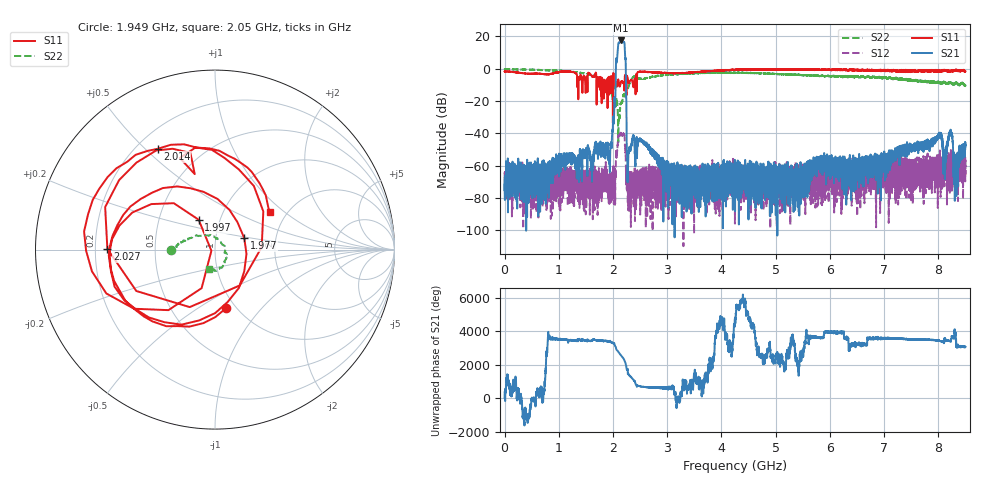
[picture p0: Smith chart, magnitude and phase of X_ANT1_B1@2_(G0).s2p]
#  HZ  S  RI  R  50.00
! Rohde & Schwarz Vector Network Analyzer
! Rohde-Schwarz,ZNBT8-20Port,1318700624101681,3.50
! Created: UTC 7/15/2025, 2:07:48 PM
! freq[Hz]  re:S1010  im:S1010  re:S0510  im:S0510  re:S1005  im:S1005  re:S55  im:S55
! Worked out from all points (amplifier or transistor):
!   8500 points, 1 MHz to 8.5 GHz, reference 50 ohm
!   highest |S21| = 17.5 dB at 2.144 GHz (marker M1)
!   |S21| within 3 dB of that: 2.095 GHz to 2.215 GHz (119.7 MHz wide, 5.56 % of centre)
!   unconditionally stable (mu >= 1): start of sweep to end of sweep
!   at 1.417 GHz: K = 810989.35, MAG = -47.8 dB, |S12| = -81.6 dB
!   at 4.251 GHz: K = 92274.92, MAG = -58.2 dB, |S12| = -59.4 dB
!   at 8.5 GHz: K = 35015.20, MAG = -41.9 dB, |S12| = -60.3 dB
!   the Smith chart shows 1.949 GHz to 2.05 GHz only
!   S11 on the Smith chart (normalised r, x): 1.949 GHz: 0.91, -0.66; 1.977 GHz: 1.38, +0.18; 1.997 GHz: 0.79, +0.27; 2.014 GHz: 0.28, +0.55; 2.027 GHz: 0.25, +0.00; 2.05 GHz: 1.64, +0.79
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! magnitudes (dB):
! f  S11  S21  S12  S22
! 1 MHz  -1.7  -71.5  -67.8  -0.2
! 1.418 GHz  -5.1  -56.6  -76.3  -2.6
! 1.949 GHz  -9.6  -50.9  -78.6  -12.2
! 1.977 GHz  -15.1  -46.7  -69.6  -15.3
! 1.997 GHz  -14.4  -37.8  -66.6  -20.5
! 2.014 GHz  -3.8  -33.5  -76.1  -25.8
! 2.027 GHz  -4.4  -17.6  -69.4  -21.7
! 2.05 GHz  -8.7  -6.8  -60.5  -19.1
! 2.144 GHz  -8.6  17.5  -39.9  -21.4
! 2.205 GHz  -10.9  16.3  -40.4  -15.4
! 2.293 GHz  -8.5  -51.0  -69.5  -10.4
! 2.51 GHz  -2.0  -43.9  -68.1  -6.2
! 2.834 GHz  -2.4  -53.9  -68.2  -4.4
! 3.163 GHz  -2.7  -70.9  -91.2  -3.3
! 4.251 GHz  -0.6  -70.4  -59.4  -2.5
! 5.667 GHz  -0.4  -61.2  -70.1  -4.2
! 7.084 GHz  -1.0  -52.8  -63.5  -5.6
! 8.019 GHz  -1.7  -40.7  -59.6  -8.4
! 8.124 GHz  -1.2  -54.4  -57.4  -8.3
! 8.224 GHz  -1.5  -39.3  -61.7  -8.3
! 8.324 GHz  -0.9  -54.0  -66.2  -8.9
! 8.5 GHz  -1.7  -47.2  -60.3  -10.1
